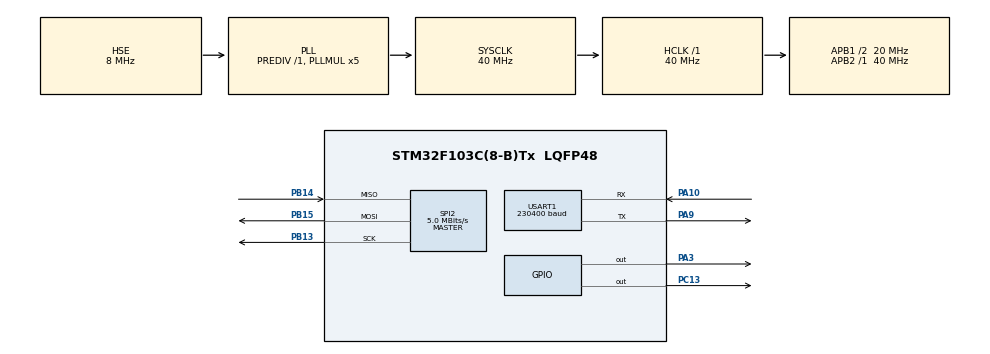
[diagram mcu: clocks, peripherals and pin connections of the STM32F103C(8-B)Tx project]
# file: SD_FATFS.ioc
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FATFS._MAX_SS=4096
FATFS._USE_LFN=1
Mcu.Family=STM32F1
Mcu.Name=STM32F103C(8-B)Tx
Mcu.Package=LQFP48
NVIC.PriorityGroup=NVIC_PRIORITYGROUP_4
NVIC.TIM2_IRQn=true\:0\:0\:false\:false\:true
NVIC.USART1_IRQn=true\:0\:0\:false\:false\:true
PA10.Mode=Asynchronous
PA10.Signal=USART1_RX
PA13.Mode=Serial_Wire
PA13.Signal=SYS_JTMS-SWDIO
PA14.Mode=Serial_Wire
PA14.Signal=SYS_JTCK-SWCLK
PA3.GPIO_Speed=GPIO_SPEED_FREQ_MEDIUM
PA3.Signal=GPIO_Output
PA9.Mode=Asynchronous
PA9.Signal=USART1_TX
PB13.Mode=Full_Duplex_Master
PB13.Signal=SPI2_SCK
PB14.Mode=Full_Duplex_Master
PB14.Signal=SPI2_MISO
PB15.Mode=Full_Duplex_Master
PB15.Signal=SPI2_MOSI
PC13-TAMPER-RTC.GPIO_Speed=GPIO_SPEED_FREQ_MEDIUM
PC13-TAMPER-RTC.Signal=GPIO_Output
PD0-OSC_IN.Mode=HSE-External-Oscillator
PD0-OSC_IN.Signal=RCC_OSC_IN
PD1-OSC_OUT.Mode=HSE-External-Oscillator
PD1-OSC_OUT.Signal=RCC_OSC_OUT
ProjectManager.HeapSize=0x200
ProjectManager.StackSize=0x400
ProjectManager.TargetToolchain=MDK-ARM V5
RCC.AHBFreq_Value=40000000
RCC.APB1CLKDivider=RCC_HCLK_DIV2
RCC.APB1Freq_Value=20000000
RCC.APB1TimFreq_Value=40000000
RCC.APB2Freq_Value=40000000
RCC.APB2TimFreq_Value=40000000
RCC.HCLKFreq_Value=40000000
RCC.PLLMUL=RCC_PLL_MUL5
RCC.PLLSourceVirtual=RCC_PLLSOURCE_HSE
RCC.SYSCLKFreq_VALUE=40000000
RCC.SYSCLKSource=RCC_SYSCLKSOURCE_PLLCLK
RCC.USBFreq_Value=40000000
SPI2.BaudRatePrescaler=SPI_BAUDRATEPRESCALER_4
SPI2.CalculateBaudRate=5.0 MBits/s
SPI2.Direction=SPI_DIRECTION_2LINES
SPI2.Mode=SPI_MODE_MASTER
SPI2.VirtualType=VM_MASTER
TIM2.Period=10
TIM2.Prescaler=39999
USART1.BaudRate=230400
USART1.VirtualMode=VM_ASYNC
VP_FATFS_VS_Generic.Mode=User_defined
VP_TIM2_VS_ClockSourceINT.Mode=Internal
board=SD_FATFS

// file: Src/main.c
/**
  ******************************************************************************
  * File Name          : main.c
  * Description        : Main program body
  ******************************************************************************
  * This notice applies to any and all portions of this file
  * that are not between comment pairs USER CODE BEGIN and
  * USER CODE END. Other portions of this file, whether
  * inserted by the user or by software development tools
  * are owned by their respective copyright owners.
  *
  * Copyright (c) 2017 STMicroelectronics International N.V.
  * All rights reserved.
  *
  * Redistribution and use in source and binary forms, with or without
  * modification, are permitted, provided that the following conditions are met:
  *
  * 1. Redistribution of source code must retain the above copyright notice,
  *    this list of conditions and the following disclaimer.
  * 2. Redistributions in binary form must reproduce the above copyright notice,
  *    this list of conditions and the following disclaimer in the documentation
  *    and/or other materials provided with the distribution.
  * 3. Neither the name of STMicroelectronics nor the names of other
  *    contributors to this software may be used to endorse or promote products
  *    derived from this software without specific written permission.
  * 4. This software, including modifications and/or derivative works of this
  *    software, must execute solely and exclusively on microcontroller or
  *    microprocessor devices manufactured by or for STMicroelectronics.
  * 5. Redistribution and use of this software other than as permitted under
  *    this license is void and will automatically terminate your rights under
  *    this license.
  *
  * THIS SOFTWARE IS PROVIDED BY STMICROELECTRONICS AND CONTRIBUTORS "AS IS"
  * AND ANY EXPRESS, IMPLIED OR STATUTORY WARRANTIES, INCLUDING, BUT NOT
  * LIMITED TO, THE IMPLIED WARRANTIES OF MERCHANTABILITY, FITNESS FOR A
  * PARTICULAR PURPOSE AND NON-INFRINGEMENT OF THIRD PARTY INTELLECTUAL PROPERTY
  * RIGHTS ARE DISCLAIMED TO THE FULLEST EXTENT PERMITTED BY LAW. IN NO EVENT
  * SHALL STMICROELECTRONICS OR CONTRIBUTORS BE LIABLE FOR ANY DIRECT, INDIRECT,
  * INCIDENTAL, SPECIAL, EXEMPLARY, OR CONSEQUENTIAL DAMAGES (INCLUDING, BUT NOT
  * LIMITED TO, PROCUREMENT OF SUBSTITUTE GOODS OR SERVICES; LOSS OF USE, DATA,
  * OR PROFITS; OR BUSINESS INTERRUPTION) HOWEVER CAUSED AND ON ANY THEORY OF
  * LIABILITY, WHETHER IN CONTRACT, STRICT LIABILITY, OR TORT (INCLUDING
  * NEGLIGENCE OR OTHERWISE) ARISING IN ANY WAY OUT OF THE USE OF THIS SOFTWARE,
  * EVEN IF ADVISED OF THE POSSIBILITY OF SUCH DAMAGE.
  *
  ******************************************************************************
  */
#include "main.h"
#include "stm32f1xx_hal.h"
#include "fatfs.h"

/* USER CODE BEGIN Includes */
#include "sd.h"
/* USER CODE END Includes */

SPI_HandleTypeDef hspi2;
TIM_HandleTypeDef htim2;
UART_HandleTypeDef huart1;

/* USER CODE BEGIN PV */
/* Private variables ---------------------------------------------------------*/
#define wSize 100
volatile uint16_t Timer1=0;
extern FATFS SDFatFs; //File system object structure (FATFS)
/* USER CODE END PV */

void SystemClock_Config(void);
static void MX_GPIO_Init(void);
static void MX_SPI2_Init(void);
static void MX_TIM2_Init(void);
static void MX_USART1_UART_Init(void);

/* USER CODE BEGIN PFP */

/* Private function prototypes -----------------------------------------------*/

/* USER CODE END PFP */

/* USER CODE BEGIN 0 */
struct sd_data SD;
/* USER CODE END 0 */

int main(void)
{

  /* MCU Configuration----------------------------------------------------------*/

  /* Reset of all peripherals, Initializes the Flash interface and the Systick. */
  HAL_Init();

  /* Configure the system clock */
  SystemClock_Config();

  /* Initialize all configured peripherals */
  MX_GPIO_Init();
  MX_SPI2_Init();
  MX_TIM2_Init();
  MX_USART1_UART_Init();
  MX_FATFS_Init();

  /* USER CODE BEGIN 2 */
	//HAL_TIM_Base_Start_IT(&htim2);
	//SDFatFs.drv: Physical drive number
	//Initial SD card
	disk_initialize(SDFatFs.drv);
	memcpy(SD.filename,"thuong.txt",strlen("thuong.txt")+1);
	memcpy(SD.wdata,SD.filename,strlen(SD.filename));
	memcpy(SD.wdata,"aaaaaa",strlen("aaaaaa"));
	SD.size = strlen(SD.wdata);
	//write
  SD_Write_File(SD.filename, SD.wdata, SD.size);
	HAL_Delay(1000);
	SD_Read_File(SD.filename);
	//SD_List_File();
	//SD_Amount_Space();
	//read

	//read dir

	//Kiem tra dung luong cua bo nho
  /* USER CODE END 2 */

  /* Infinite loop */
  while (1)
  {

  }

}

/** System Clock Configuration
*/
void SystemClock_Config(void)
{

  RCC_OscInitTypeDef RCC_OscInitStruct;
  RCC_ClkInitTypeDef RCC_ClkInitStruct;

    /**Initializes the CPU, AHB and APB busses clocks
    */
  RCC_OscInitStruct.OscillatorType = RCC_OSCILLATORTYPE_HSE;
  RCC_OscInitStruct.HSEState = RCC_HSE_ON;
  RCC_OscInitStruct.HSEPredivValue = RCC_HSE_PREDIV_DIV1;
  RCC_OscInitStruct.HSIState = RCC_HSI_ON;
  RCC_OscInitStruct.PLL.PLLState = RCC_PLL_ON;
  RCC_OscInitStruct.PLL.PLLSource = RCC_PLLSOURCE_HSE;
  RCC_OscInitStruct.PLL.PLLMUL = RCC_PLL_MUL5;
  if (HAL_RCC_OscConfig(&RCC_OscInitStruct) != HAL_OK)
  {
    _Error_Handler(__FILE__, __LINE__);
  }

    /**Initializes the CPU, AHB and APB busses clocks
    */
  RCC_ClkInitStruct.ClockType = RCC_CLOCKTYPE_HCLK|RCC_CLOCKTYPE_SYSCLK
                              |RCC_CLOCKTYPE_PCLK1|RCC_CLOCKTYPE_PCLK2;
  RCC_ClkInitStruct.SYSCLKSource = RCC_SYSCLKSOURCE_PLLCLK;
  RCC_ClkInitStruct.AHBCLKDivider = RCC_SYSCLK_DIV1;
  RCC_ClkInitStruct.APB1CLKDivider = RCC_HCLK_DIV2;
  RCC_ClkInitStruct.APB2CLKDivider = RCC_HCLK_DIV1;

  if (HAL_RCC_ClockConfig(&RCC_ClkInitStruct, FLASH_LATENCY_1) != HAL_OK)
  {
    _Error_Handler(__FILE__, __LINE__);
  }

    /**Configure the Systick interrupt time
    */
  HAL_SYSTICK_Config(HAL_RCC_GetHCLKFreq()/1000);

    /**Configure the Systick
    */
  HAL_SYSTICK_CLKSourceConfig(SYSTICK_CLKSOURCE_HCLK);

  /* SysTick_IRQn interrupt configuration */
  HAL_NVIC_SetPriority(SysTick_IRQn, 0, 0);
}

/* SPI2 init function */
static void MX_SPI2_Init(void)
{

  hspi2.Instance = SPI2;
  hspi2.Init.Mode = SPI_MODE_MASTER;
  hspi2.Init.Direction = SPI_DIRECTION_2LINES;
  hspi2.Init.DataSize = SPI_DATASIZE_8BIT;
  hspi2.Init.CLKPolarity = SPI_POLARITY_LOW;
  hspi2.Init.CLKPhase = SPI_PHASE_1EDGE;
  hspi2.Init.NSS = SPI_NSS_SOFT;
  hspi2.Init.BaudRatePrescaler = SPI_BAUDRATEPRESCALER_4;
  hspi2.Init.FirstBit = SPI_FIRSTBIT_MSB;
  hspi2.Init.TIMode = SPI_TIMODE_DISABLE;
  hspi2.Init.CRCCalculation = SPI_CRCCALCULATION_DISABLE;
  hspi2.Init.CRCPolynomial = 10;
  if (HAL_SPI_Init(&hspi2) != HAL_OK)
  {
    _Error_Handler(__FILE__, __LINE__);
  }

}

/* TIM2 init function */
static void MX_TIM2_Init(void)
{

  TIM_ClockConfigTypeDef sClockSourceConfig;
  TIM_MasterConfigTypeDef sMasterConfig;

  htim2.Instance = TIM2;
  htim2.Init.Prescaler = 39999;
  htim2.Init.CounterMode = TIM_COUNTERMODE_UP;
  htim2.Init.Period = 10;
  htim2.Init.ClockDivision = TIM_CLOCKDIVISION_DIV1;
  htim2.Init.AutoReloadPreload = TIM_AUTORELOAD_PRELOAD_DISABLE;
  if (HAL_TIM_Base_Init(&htim2) != HAL_OK)
  {
    _Error_Handler(__FILE__, __LINE__);
  }

  sClockSourceConfig.ClockSource = TIM_CLOCKSOURCE_INTERNAL;
  if (HAL_TIM_ConfigClockSource(&htim2, &sClockSourceConfig) != HAL_OK)
  {
    _Error_Handler(__FILE__, __LINE__);
  }

  sMasterConfig.MasterOutputTrigger = TIM_TRGO_RESET;
  sMasterConfig.MasterSlaveMode = TIM_MASTERSLAVEMODE_DISABLE;
  if (HAL_TIMEx_MasterConfigSynchronization(&htim2, &sMasterConfig) != HAL_OK)
  {
    _Error_Handler(__FILE__, __LINE__);
  }

}

/* USART1 init function */
static void MX_USART1_UART_Init(void)
{

  huart1.Instance = USART1;
  huart1.Init.BaudRate = 9600;
  huart1.Init.WordLength = UART_WORDLENGTH_8B;
  huart1.Init.StopBits = UART_STOPBITS_1;
  huart1.Init.Parity = UART_PARITY_NONE;
  huart1.Init.Mode = UART_MODE_TX_RX;
  huart1.Init.HwFlowCtl = UART_HWCONTROL_NONE;
  huart1.Init.OverSampling = UART_OVERSAMPLING_16;
  if (HAL_UART_Init(&huart1) != HAL_OK)
  {
    _Error_Handler(__FILE__, __LINE__);
  }

}

/** Configure pins as
        * Analog
        * Input
        * Output
        * EVENT_OUT
        * EXTI
*/
static void MX_GPIO_Init(void)
{

  GPIO_InitTypeDef GPIO_InitStruct;

  /* GPIO Ports Clock Enable */
  __HAL_RCC_GPIOC_CLK_ENABLE();
  __HAL_RCC_GPIOD_CLK_ENABLE();
  __HAL_RCC_GPIOA_CLK_ENABLE();
  __HAL_RCC_GPIOB_CLK_ENABLE();

  /*Configure GPIO pin Output Level */
  HAL_GPIO_WritePin(GPIOC, GPIO_PIN_13, GPIO_PIN_RESET);

  /*Configure GPIO pin Output Level */
  HAL_GPIO_WritePin(GPIOA, GPIO_PIN_3, GPIO_PIN_RESET);

  /*Configure GPIO pin : PC13 */
  GPIO_InitStruct.Pin = GPIO_PIN_13;
  GPIO_InitStruct.Mode = GPIO_MODE_OUTPUT_PP;
  GPIO_InitStruct.Speed = GPIO_SPEED_FREQ_MEDIUM;
  HAL_GPIO_Init(GPIOC, &GPIO_InitStruct);

  /*Configure GPIO pin : PA3 */
  GPIO_InitStruct.Pin = GPIO_PIN_3;
  GPIO_InitStruct.Mode = GPIO_MODE_OUTPUT_PP;
  GPIO_InitStruct.Speed = GPIO_SPEED_FREQ_MEDIUM;
  HAL_GPIO_Init(GPIOA, &GPIO_InitStruct);

}

/* USER CODE BEGIN 4 */
//Khi xay ra ngat tran bien Timer1 tang len 1
//----------------------------------------------------------
void HAL_TIM_PeriodElapsedCallback(TIM_HandleTypeDef *htim)
{
	if(htim==&htim2)
	{
		Timer1++;
	}
}
#ifdef __GNUC__
  #define PUTCHAR_PROTOTYPE int __io_putchar(int ch)
#else
  #define PUTCHAR_PROTOTYPE int fputc(int ch, FILE *f)
#endif

PUTCHAR_PROTOTYPE
{
    HAL_UART_Transmit(&huart1, (uint8_t *)&ch, 1, 100);
    return ch;
}
//----------------------------------------------------------
/* USER CODE END 4 */

void _Error_Handler(char * file, int line)
{
  /* USER CODE BEGIN Error_Handler_Debug */
  /* User can add his own implementation to report the HAL error return state */
  while(1)
  {
		printf("Error\r\n");
		break;
  }
  /* USER CODE END Error_Handler_Debug */
}

/************************ (C) COPYRIGHT STMicroelectronics *****END OF FILE****/
